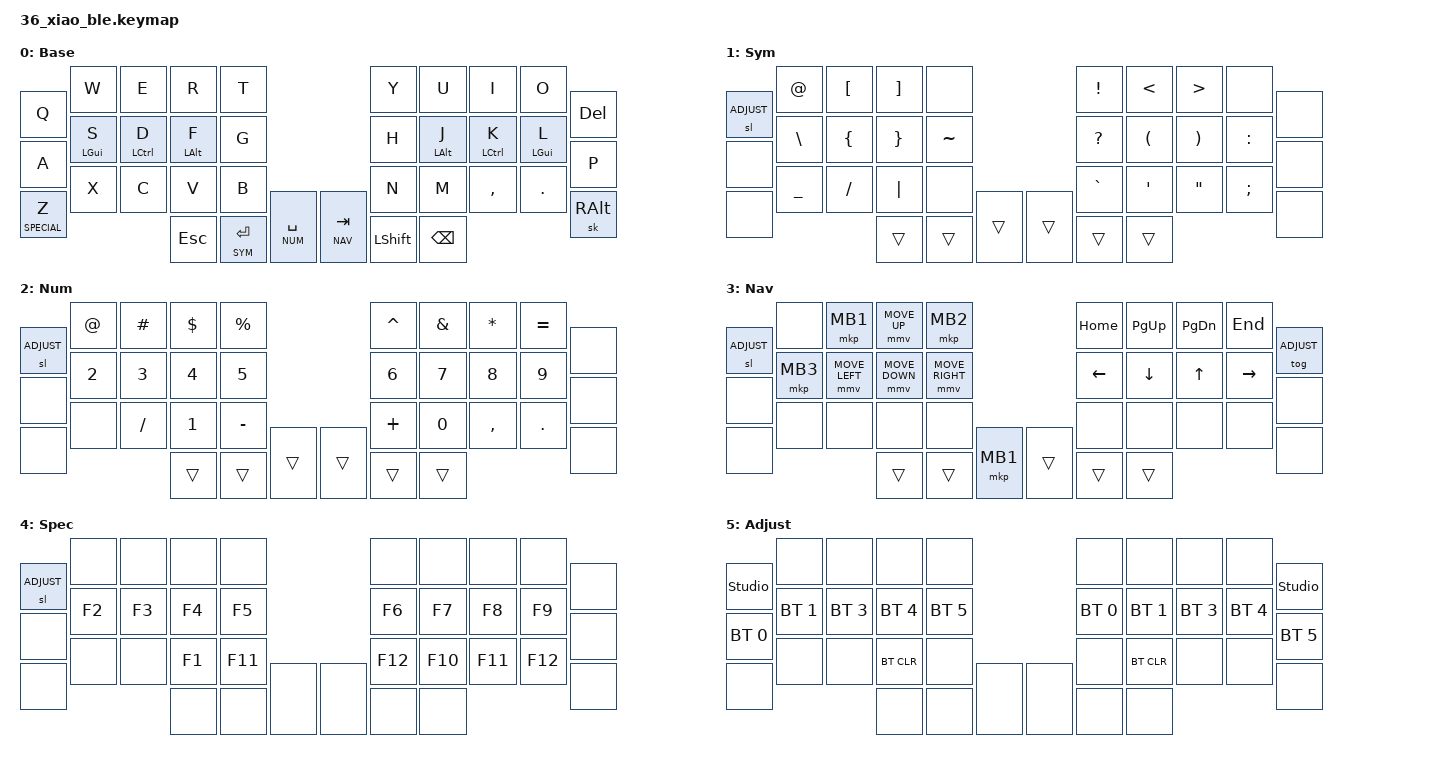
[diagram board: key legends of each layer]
#include <behaviors.dtsi>
#include <dt-bindings/zmk/keys.h>
#include <dt-bindings/zmk/bt.h>
#include <dt-bindings/zmk/outputs.h>

#define ZMK_POINTING_DEFAULT_MOVE_VAL 600  // default: 600
#define ZMK_POINTING_DEFAULT_SCRL_VAL 10    // default: 10

#include <dt-bindings/zmk/pointing.h>

#define DEFAULT 0
#define SYM 1
#define NUM 2
#define NAV 3
#define SPECIAL 4
#define ADJUST 5
#define NONE 0

/ {
        keymap {
                compatible = "zmk,keymap";

                default_layer {
                        display-name = "Base";
                        bindings = <
                           &kp Q &kp W &kp E &kp R &kp T                          &kp Y &kp U  &kp I &kp O   &kp DEL   
                           &kp A &mt LGUI S &mt LCTRL D &mt LALT F &kp G          &kp H &mt LALT J &mt LCTRL K &mt LGUI L  &kp P
                           &lt SPECIAL Z &kp X &kp C &kp V &kp B                  &kp N &kp M  &kp COMMA &kp DOT &sk RALT
                           &kp ESC &lt SYM RET &lt NUM SPACE       &lt NAV TAB &kp LSHIFT &kp BSPC
                        >;
                };
                sym_layer {
                        display-name = "Sym";
                        bindings = <
                           &sl ADJUST &kp AT &kp LEFT_BRACKET &kp RIGHT_BRACKET &none         &kp EXCLAMATION  &kp LESS_THAN  &kp GREATER_THAN  &none  &none
                           &none &kp BACKSLASH &kp LEFT_BRACE &kp RIGHT_BRACE &kp TILDE        &kp QUESTION  &kp LEFT_PARENTHESIS  &kp RIGHT_PARENTHESIS  &kp COLON  &none
                           &none &kp UNDERSCORE &kp SLASH &kp PIPE &none                       &kp GRAVE &kp APOSTROPHE  &kp DOUBLE_QUOTES &kp SEMICOLON &none
                           &trans &trans &trans                                                &trans &trans &trans
                        >;
                };
                num_layer {
                        display-name = "Num";
                        bindings = <
                           &sl ADJUST &kp AT &kp HASH &kp DOLLAR &kp PERCENT &kp CARET &kp AMPS &kp ASTERISK &kp EQUAL &none
                           &none &kp N2 &kp N3 &kp N4 &kp N5                    &kp N6 &kp N7  &kp N8 &kp N9   &none
                           &none &none &kp SLASH &kp N1 &kp MINUS               &kp PLUS &kp N0  &kp COMMA &kp DOT &none
                           &trans &trans &trans                                 &trans &trans &trans
                        >;
                };
                nav_layer {
                        display-name = "Nav";
                        bindings = <
                           &sl ADJUST &none &mkp MB1 &mmv MOVE_UP &mkp MB2     &kp HOME &kp PG_UP &kp PG_DN &kp END &tog ADJUST
                           &none &mkp MB3 &mmv MOVE_LEFT &mmv MOVE_DOWN &mmv MOVE_RIGHT           &kp LEFT &kp DOWN  &kp UP &kp RIGHT  &none
                           &none &none &none &none &none        &none &none  &none &none &none
                           &trans &trans &mkp MB1                        &trans &trans &trans
                        >;
                };
                special_layer {
                        display-name = "Spec";
                        bindings = <
                           &sl ADJUST &none &none &none &none     &none &none &none &none &none
                           &none &kp F2 &kp F3 &kp F4 &kp F5           &kp F6 &kp F7  &kp F8 &kp F9 &none
                           &none &none &none &kp F1 &kp F11        &kp F12 &kp F10  &kp F11 &kp F12 &none
                           &none &none &none                        &none &none &none
                        >;
                };
                adjust_layer {
                        display-name = "Adjust";
                        bindings = <
                           &studio_unlock &none &none &none &none                                  &none &none &none &none &studio_unlock
                           &bt BT_SEL 0 &bt BT_SEL 1 &bt BT_SEL 3 &bt BT_SEL 4 &bt BT_SEL 5     &bt BT_SEL 0 &bt BT_SEL 1 &bt BT_SEL 3 &bt BT_SEL 4 &bt BT_SEL 5
                           &none &none &none &bt BT_CLR &none                                   &none &bt BT_CLR &none &none &none
                           &none &none &none                                              &none &none &none
                        >;
                };
        };
};

